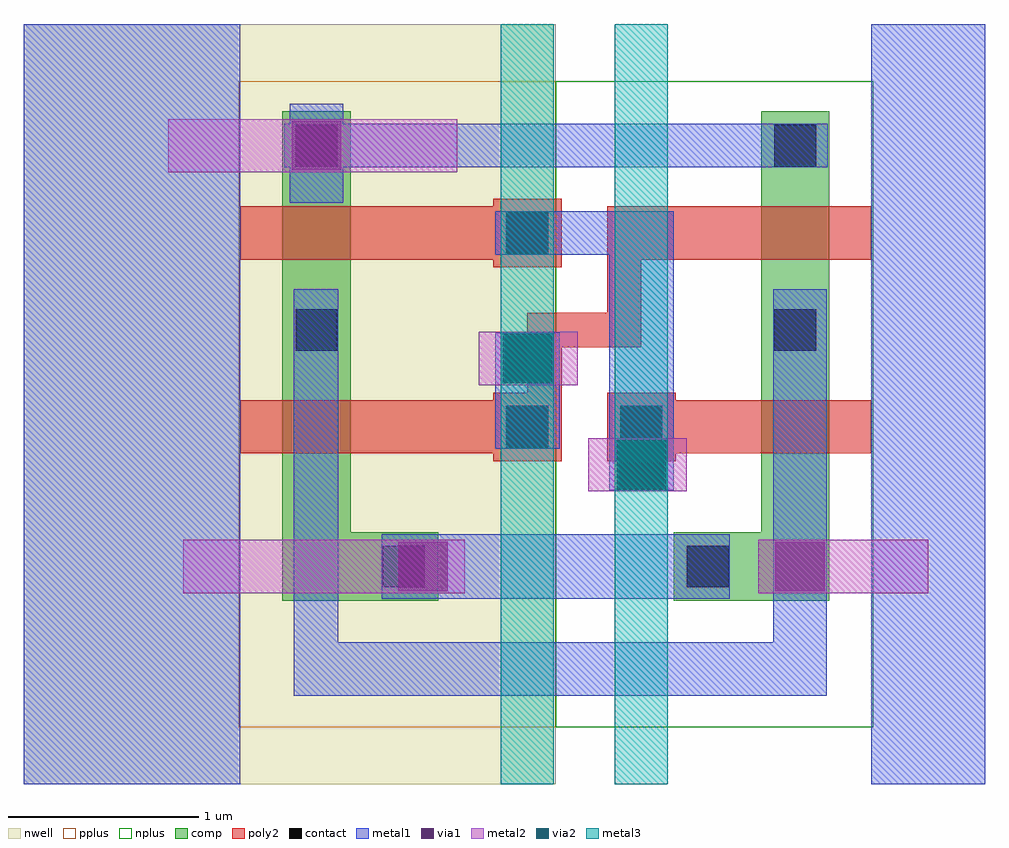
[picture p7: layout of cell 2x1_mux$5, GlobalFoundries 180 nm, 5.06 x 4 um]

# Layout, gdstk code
import gdstk
lib = gdstk.Library(unit=1e-6, precision=5e-09)
def R(c, l, rs):  # rectangles x0, y0, x1, y1
    for r in rs: c.add(gdstk.rectangle(r[:2], r[2:], *l))
nwell = (21, 0)
comp = (22, 0)
poly2 = (30, 0)
pplus = (31, 0)
nplus = (32, 0)
contact = (33, 0)
metal1 = (34, 0)
via1 = (35, 0)
metal2 = (36, 0)
via2 = (38, 0)
metal3 = (42, 0)

c_2x1_mux_5 = lib.new_cell('2x1_mux$5')
R(c_2x1_mux_5, nwell, [(-0.415,2.565,2.385,6.565)])
R(c_2x1_mux_5, comp, [(0.945,3.53,1.305,6.105), (1.305,3.53,1.765,3.89), (3.005,3.53,3.465,3.89), (3.465,3.53,3.825,6.105)])
R(c_2x1_mux_5, poly2, [(2.055,4.265,2.415,4.625), (2.655,4.265,3.015,4.625), (0.725,4.305,2.055,4.585), (3.015,4.305,4.045,4.585), (2.235,4.625,2.415,4.865), (2.235,4.865,2.835,5.045), (2.655,5.045,2.835,5.325), (2.055,5.285,2.415,5.645), (0.725,5.325,2.055,5.605), (2.655,5.325,4.045,5.605)])
R(c_2x1_mux_5, pplus, [(0.715,2.865,2.385,6.265)])
R(c_2x1_mux_5, nplus, [(2.385,2.865,4.055,6.265)])
R(c_2x1_mux_5, contact, [(1.475,3.6,1.695,3.82), (3.075,3.6,3.295,3.82), (2.125,4.335,2.345,4.555), (2.725,4.335,2.945,4.555), (1.015,4.845,1.235,5.065), (3.535,4.845,3.755,5.065), (2.125,5.355,2.345,5.575), (1.015,5.815,1.235,6.035), (3.535,5.815,3.755,6.035)])
R(c_2x1_mux_5, metal1, [(-0.415,2.565,0.725,6.565), (4.045,2.565,4.645,6.565), (1.005,3.03,1.24,5.17), (1.24,3.03,3.53,3.31), (3.53,3.03,3.81,5.17), (1.47,3.54,3.3,3.88), (2.665,4.11,3.005,5.35), (2.065,4.33,2.405,4.94), (2.065,5.35,3.005,5.58), (0.985,5.625,1.265,6.145), (0.955,5.81,3.815,6.04)])
R(c_2x1_mux_5, via1, [(1.555,3.58,1.815,3.84), (3.54,3.58,3.8,3.84), (2.705,4.115,2.965,4.375), (2.105,4.675,2.365,4.935), (0.995,5.795,1.255,6.055)])
R(c_2x1_mux_5, metal2, [(0.425,3.57,1.905,3.85), (3.45,3.57,4.345,3.85), (2.555,4.105,3.075,4.385), (1.98,4.665,2.5,4.945), (0.345,5.785,1.865,6.065)])
R(c_2x1_mux_5, via2, [(2.705,4.115,2.965,4.375), (2.105,4.675,2.365,4.935)])
R(c_2x1_mux_5, metal3, [(2.095,2.565,2.375,6.565), (2.695,2.565,2.975,6.565)])

lib.write_gds('2x1_mux_5.gds')
